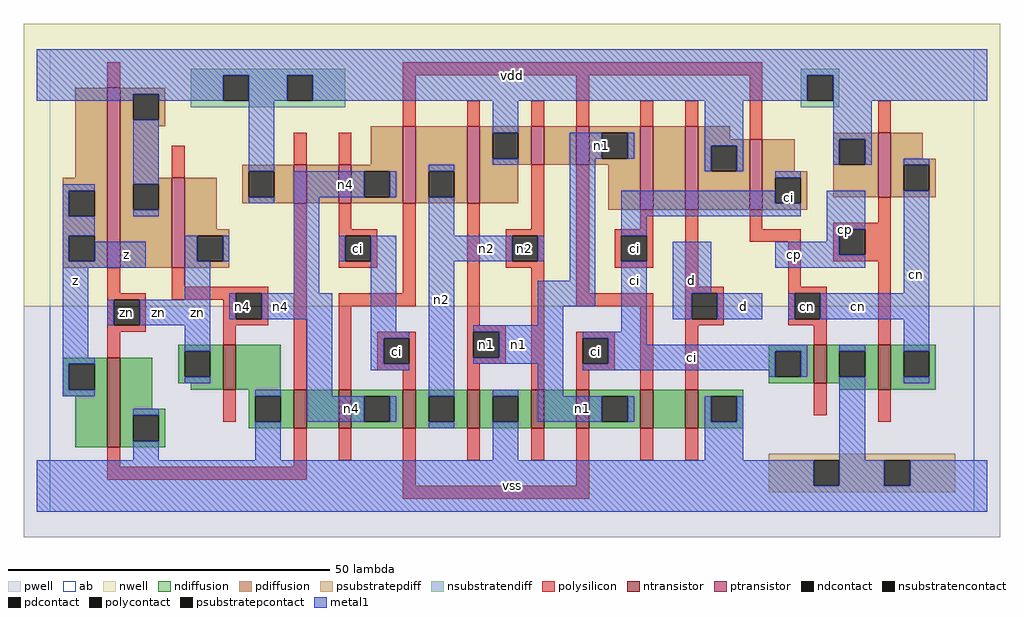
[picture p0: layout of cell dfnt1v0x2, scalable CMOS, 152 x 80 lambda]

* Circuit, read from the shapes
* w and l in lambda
.subckt dfnt1v0x2 ci cn cp d n1 n2 n4 vdd vss z zn
M1 vss zn z vss nfet w=14 l=2
M2 vss n4 zn vss nfet w=7 l=2
M3 n3 zn vss vss nfet w=6 l=2
M4 n4 cn n3 vss nfet w=6 l=2
M5 n2 ci n4 vss nfet w=6 l=2
M6 vss n1 n2 vss nfet w=6 l=2
M7 n5 n2 vss vss nfet w=6 l=2
M8 n1 ci n5 vss nfet w=6 l=2
M9 n6 cn n1 vss nfet w=6 l=2
M10 vss d n6 vss nfet w=6 l=2
M11 vss cn ci vss nfet w=6 l=2
M12 cn cp vss vss nfet w=7 l=2
M13 vdd zn z vdd pfet w=28 l=2
M14 zn n4 vdd vdd pfet w=14 l=2
M15 n7 zn vdd vdd pfet w=6 l=2
M16 n4 ci n7 vdd pfet w=6 l=2
M17 n2 cn n4 vdd pfet w=12 l=2
M18 vdd n1 n2 vdd pfet w=12 l=2
M19 n8 n2 vdd vdd pfet w=6 l=2
M20 n1 cn n8 vdd pfet w=6 l=2
M21 n9 ci n1 vdd pfet w=13 l=2
M22 vdd d n9 vdd pfet w=13 l=2
M23 ci cn vdd vdd pfet w=11 l=2
M24 cn cp vdd vdd pfet w=10 l=2
.ends

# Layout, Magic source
magic
tech scmos
<< ab >>
rect 0 0 144 72
<< pwell >>
rect -4 -4 148 32
<< nwell >>
rect -4 32 148 76
<< polysilicon >>
rect 9 66 11 70
rect 55 68 111 70
rect 55 60 57 68
rect 65 60 67 64
rect 75 60 77 64
rect 82 60 84 68
rect 92 60 94 64
rect 99 60 101 64
rect 19 52 21 57
rect 38 54 40 59
rect 45 54 47 59
rect 9 34 11 38
rect 19 35 21 38
rect 19 34 34 35
rect 9 33 15 34
rect 19 33 29 34
rect 9 29 10 33
rect 14 29 15 33
rect 9 28 15 29
rect 27 30 29 33
rect 33 30 34 34
rect 27 29 34 30
rect 9 24 11 28
rect 27 26 29 29
rect 38 19 40 48
rect 45 44 47 48
rect 45 43 51 44
rect 45 39 46 43
rect 50 39 51 43
rect 45 38 51 39
rect 55 34 57 48
rect 45 32 57 34
rect 45 19 47 32
rect 65 29 67 48
rect 75 44 77 54
rect 71 43 77 44
rect 71 39 72 43
rect 76 39 77 43
rect 71 38 77 39
rect 65 28 71 29
rect 51 27 57 28
rect 51 23 52 27
rect 56 23 57 27
rect 51 22 57 23
rect 55 19 57 22
rect 65 24 66 28
rect 70 24 71 28
rect 65 23 71 24
rect 65 19 67 23
rect 75 19 77 38
rect 82 34 84 54
rect 109 58 111 68
rect 129 59 131 64
rect 92 44 94 47
rect 88 43 94 44
rect 88 39 89 43
rect 93 39 94 43
rect 88 38 94 39
rect 99 35 101 47
rect 109 44 111 47
rect 129 45 131 49
rect 122 44 131 45
rect 109 42 117 44
rect 115 35 117 42
rect 122 40 123 44
rect 127 40 131 44
rect 122 39 131 40
rect 99 34 105 35
rect 82 32 94 34
rect 82 27 88 28
rect 82 23 83 27
rect 87 23 88 27
rect 82 22 88 23
rect 82 19 84 22
rect 92 19 94 32
rect 99 30 100 34
rect 104 30 105 34
rect 99 29 105 30
rect 115 34 121 35
rect 115 30 116 34
rect 120 30 121 34
rect 115 29 121 30
rect 99 19 101 29
rect 119 26 121 29
rect 129 26 131 39
rect 27 14 29 19
rect 119 15 121 20
rect 129 14 131 19
rect 9 7 11 10
rect 38 7 40 13
rect 45 8 47 13
rect 9 5 40 7
rect 55 4 57 13
rect 65 8 67 13
rect 75 8 77 13
rect 82 4 84 13
rect 92 8 94 13
rect 99 8 101 13
rect 55 2 84 4
<< ndiffusion >>
rect 20 25 27 26
rect 2 23 9 24
rect 2 19 3 23
rect 7 19 9 23
rect 2 18 9 19
rect 4 10 9 18
rect 11 16 16 24
rect 20 21 21 25
rect 25 21 27 25
rect 20 20 27 21
rect 22 19 27 20
rect 29 19 36 26
rect 112 25 119 26
rect 112 21 113 25
rect 117 21 119 25
rect 112 20 119 21
rect 121 25 129 26
rect 121 21 123 25
rect 127 21 129 25
rect 121 20 129 21
rect 11 15 18 16
rect 11 11 13 15
rect 17 11 18 15
rect 31 18 38 19
rect 31 14 32 18
rect 36 14 38 18
rect 31 13 38 14
rect 40 13 45 19
rect 47 18 55 19
rect 47 14 49 18
rect 53 14 55 18
rect 47 13 55 14
rect 57 18 65 19
rect 57 14 59 18
rect 63 14 65 18
rect 57 13 65 14
rect 67 18 75 19
rect 67 14 69 18
rect 73 14 75 18
rect 67 13 75 14
rect 77 13 82 19
rect 84 18 92 19
rect 84 14 86 18
rect 90 14 92 18
rect 84 13 92 14
rect 94 13 99 19
rect 101 18 108 19
rect 101 14 103 18
rect 107 14 108 18
rect 123 19 129 20
rect 131 25 138 26
rect 131 21 133 25
rect 137 21 138 25
rect 131 19 138 21
rect 101 13 108 14
rect 11 10 18 11
<< pdiffusion >>
rect 4 52 9 66
rect 2 50 9 52
rect 2 46 3 50
rect 7 46 9 50
rect 2 43 9 46
rect 2 39 3 43
rect 7 39 9 43
rect 2 38 9 39
rect 11 65 18 66
rect 11 61 13 65
rect 17 61 18 65
rect 11 60 18 61
rect 11 52 17 60
rect 50 54 55 60
rect 30 53 38 54
rect 11 51 19 52
rect 11 47 13 51
rect 17 47 19 51
rect 11 38 19 47
rect 21 44 26 52
rect 30 49 31 53
rect 35 49 38 53
rect 30 48 38 49
rect 40 48 45 54
rect 47 53 55 54
rect 47 49 49 53
rect 53 49 55 53
rect 47 48 55 49
rect 57 53 65 60
rect 57 49 59 53
rect 63 49 65 53
rect 57 48 65 49
rect 67 59 75 60
rect 67 55 69 59
rect 73 55 75 59
rect 67 54 75 55
rect 77 54 82 60
rect 84 59 92 60
rect 84 55 86 59
rect 90 55 92 59
rect 84 54 92 55
rect 67 48 73 54
rect 21 43 28 44
rect 21 39 23 43
rect 27 39 28 43
rect 21 38 28 39
rect 87 47 92 54
rect 94 47 99 60
rect 101 58 106 60
rect 122 58 129 59
rect 101 57 109 58
rect 101 53 103 57
rect 107 53 109 57
rect 101 47 109 53
rect 111 53 116 58
rect 122 54 123 58
rect 127 54 129 58
rect 111 52 118 53
rect 111 48 113 52
rect 117 48 118 52
rect 122 49 129 54
rect 131 55 136 59
rect 131 54 138 55
rect 131 50 133 54
rect 137 50 138 54
rect 131 49 138 50
rect 111 47 118 48
<< metal1 >>
rect -2 68 146 72
rect -2 65 27 68
rect -2 64 13 65
rect 17 64 27 65
rect 31 64 37 68
rect 41 64 118 68
rect 122 64 146 68
rect 13 51 17 61
rect 2 50 7 51
rect 2 46 3 50
rect 31 53 35 64
rect 69 59 73 64
rect 69 54 73 55
rect 81 55 86 59
rect 90 55 91 59
rect 102 57 108 64
rect 59 53 63 54
rect 31 48 35 49
rect 38 49 49 53
rect 53 49 54 53
rect 13 46 17 47
rect 2 43 7 46
rect 2 39 3 43
rect 7 39 15 42
rect 2 38 15 39
rect 21 39 23 43
rect 27 39 28 43
rect 2 24 6 38
rect 21 33 25 39
rect 38 34 42 49
rect 59 43 63 49
rect 45 39 46 43
rect 9 29 10 33
rect 14 29 25 33
rect 28 30 29 34
rect 33 30 44 34
rect 21 25 25 29
rect 2 23 7 24
rect 2 19 3 23
rect 21 20 25 21
rect 2 18 7 19
rect 32 18 36 19
rect 13 15 17 16
rect 13 8 17 11
rect 40 18 44 30
rect 50 28 54 43
rect 59 39 72 43
rect 76 39 77 43
rect 50 27 56 28
rect 50 23 52 27
rect 50 22 56 23
rect 59 18 63 39
rect 81 36 85 55
rect 102 53 103 57
rect 107 53 108 57
rect 122 58 128 64
rect 122 54 123 58
rect 127 54 128 58
rect 133 54 137 55
rect 113 52 117 53
rect 76 32 85 36
rect 89 48 113 50
rect 89 46 117 48
rect 89 43 93 46
rect 121 44 127 50
rect 121 42 123 44
rect 76 29 80 32
rect 66 28 80 29
rect 89 28 93 39
rect 97 34 103 42
rect 113 40 123 42
rect 113 38 127 40
rect 133 34 137 50
rect 97 30 100 34
rect 104 30 111 34
rect 115 30 116 34
rect 120 30 137 34
rect 70 24 80 28
rect 66 23 80 24
rect 40 14 49 18
rect 53 14 54 18
rect 32 8 36 14
rect 59 13 63 14
rect 69 18 73 19
rect 76 18 80 23
rect 83 27 93 28
rect 87 26 93 27
rect 87 25 118 26
rect 87 23 113 25
rect 83 22 113 23
rect 112 21 113 22
rect 117 21 118 25
rect 123 25 127 26
rect 76 14 86 18
rect 90 14 91 18
rect 102 14 103 18
rect 107 14 108 18
rect 69 8 73 14
rect 102 8 108 14
rect 123 8 127 21
rect 133 25 137 30
rect 133 20 137 21
rect -2 4 119 8
rect 123 4 130 8
rect 134 4 146 8
rect -2 0 146 4
<< ntransistor >>
rect 9 10 11 24
rect 27 19 29 26
rect 119 20 121 26
rect 38 13 40 19
rect 45 13 47 19
rect 55 13 57 19
rect 65 13 67 19
rect 75 13 77 19
rect 82 13 84 19
rect 92 13 94 19
rect 99 13 101 19
rect 129 19 131 26
<< ptransistor >>
rect 9 38 11 66
rect 19 38 21 52
rect 38 48 40 54
rect 45 48 47 54
rect 55 48 57 60
rect 65 48 67 60
rect 75 54 77 60
rect 82 54 84 60
rect 92 47 94 60
rect 99 47 101 60
rect 109 47 111 58
rect 129 49 131 59
<< polycontact >>
rect 10 29 14 33
rect 29 30 33 34
rect 46 39 50 43
rect 72 39 76 43
rect 52 23 56 27
rect 66 24 70 28
rect 89 39 93 43
rect 123 40 127 44
rect 83 23 87 27
rect 100 30 104 34
rect 116 30 120 34
<< ndcontact >>
rect 3 19 7 23
rect 21 21 25 25
rect 113 21 117 25
rect 123 21 127 25
rect 13 11 17 15
rect 32 14 36 18
rect 49 14 53 18
rect 59 14 63 18
rect 69 14 73 18
rect 86 14 90 18
rect 103 14 107 18
rect 133 21 137 25
<< pdcontact >>
rect 3 46 7 50
rect 3 39 7 43
rect 13 61 17 65
rect 13 47 17 51
rect 31 49 35 53
rect 49 49 53 53
rect 59 49 63 53
rect 69 55 73 59
rect 86 55 90 59
rect 23 39 27 43
rect 103 53 107 57
rect 123 54 127 58
rect 113 48 117 52
rect 133 50 137 54
<< psubstratepcontact >>
rect 119 4 123 8
rect 130 4 134 8
<< nsubstratencontact >>
rect 27 64 31 68
rect 37 64 41 68
rect 118 64 122 68
<< psubstratepdiff >>
rect 112 8 141 9
rect 112 4 119 8
rect 123 4 130 8
rect 134 4 141 8
rect 112 3 141 4
<< nsubstratendiff >>
rect 22 68 46 69
rect 22 64 27 68
rect 31 64 37 68
rect 41 64 46 68
rect 22 63 46 64
rect 117 68 123 69
rect 117 64 118 68
rect 122 64 123 68
rect 117 63 123 64
<< labels >>
rlabel polycontact 12 31 12 31 6 zn
rlabel polycontact 30 32 30 32 6 n4
rlabel polycontact 54 25 54 25 6 ci
rlabel polycontact 48 41 48 41 6 ci
rlabel polycontact 68 26 68 26 6 n1
rlabel polycontact 85 25 85 25 6 ci
rlabel polycontact 91 41 91 41 6 ci
rlabel polycontact 74 41 74 41 6 n2
rlabel polycontact 118 32 118 32 6 cn
rlabel metal1 17 31 17 31 6 zn
rlabel metal1 4 36 4 36 6 z
rlabel metal1 12 40 12 40 6 z
rlabel metal1 23 31 23 31 6 zn
rlabel metal1 47 16 47 16 6 n4
rlabel polycontact 53 25 53 25 6 ci
rlabel metal1 36 32 36 32 6 n4
rlabel polycontact 49 41 49 41 6 ci
rlabel metal1 46 51 46 51 6 n4
rlabel metal1 72 4 72 4 6 vss
rlabel metal1 73 26 73 26 6 n1
rlabel metal1 68 41 68 41 6 n2
rlabel metal1 61 33 61 33 6 n2
rlabel metal1 72 68 72 68 6 vdd
rlabel metal1 83 16 83 16 6 n1
rlabel metal1 108 32 108 32 6 d
rlabel metal1 100 36 100 36 6 d
rlabel metal1 91 36 91 36 6 ci
rlabel metal1 86 57 86 57 6 n1
rlabel metal1 100 24 100 24 6 ci
rlabel metal1 126 32 126 32 6 cn
rlabel metal1 116 40 116 40 6 cp
rlabel metal1 124 44 124 44 6 cp
rlabel metal1 135 37 135 37 6 cn
rlabel pdcontact 115 49 115 49 6 ci
<< end >>
